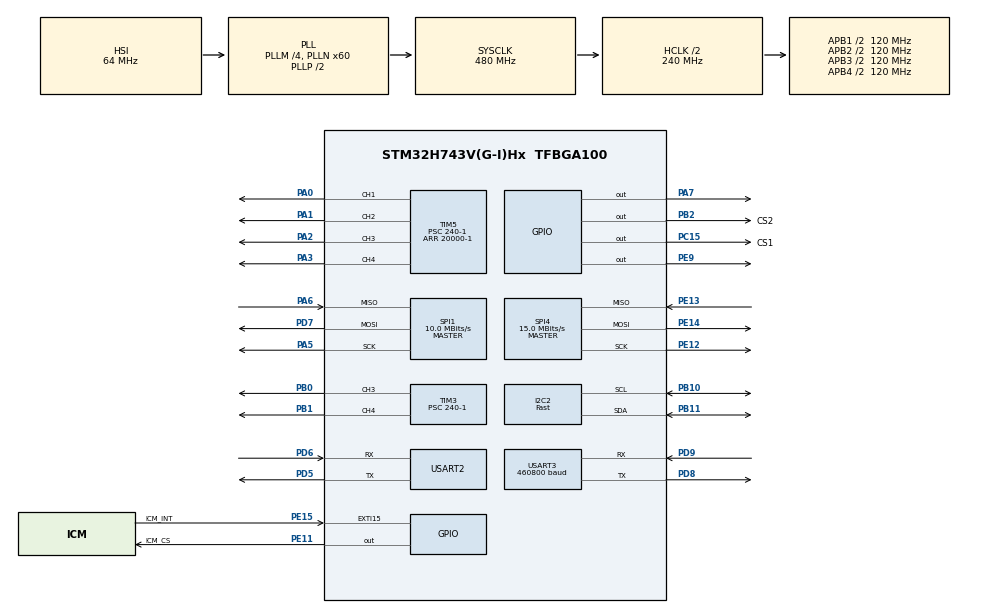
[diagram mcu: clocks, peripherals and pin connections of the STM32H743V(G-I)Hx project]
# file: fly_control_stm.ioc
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CORTEX_M7.default_mode_Activation=1
Dma.I2C2_RX.2.Direction=DMA_PERIPH_TO_MEMORY
Dma.I2C2_RX.2.EventEnable=DISABLE
Dma.I2C2_RX.2.FIFOMode=DMA_FIFOMODE_DISABLE
Dma.I2C2_RX.2.Instance=DMA1_Stream0
Dma.I2C2_RX.2.MemDataAlignment=DMA_MDATAALIGN_BYTE
Dma.I2C2_RX.2.MemInc=DMA_MINC_ENABLE
Dma.I2C2_RX.2.Mode=DMA_NORMAL
Dma.I2C2_RX.2.PeriphDataAlignment=DMA_PDATAALIGN_BYTE
Dma.I2C2_RX.2.PeriphInc=DMA_PINC_DISABLE
Dma.I2C2_RX.2.Polarity=HAL_DMAMUX_REQ_GEN_RISING
Dma.I2C2_RX.2.Priority=DMA_PRIORITY_MEDIUM
Dma.I2C2_RX.2.RequestNumber=1
Dma.I2C2_RX.2.SignalID=NONE
Dma.I2C2_RX.2.SyncEnable=DISABLE
Dma.I2C2_RX.2.SyncPolarity=HAL_DMAMUX_SYNC_NO_EVENT
Dma.I2C2_RX.2.SyncRequestNumber=1
Dma.I2C2_RX.2.SyncSignalID=NONE
Dma.I2C2_TX.3.Direction=DMA_MEMORY_TO_PERIPH
Dma.I2C2_TX.3.EventEnable=DISABLE
Dma.I2C2_TX.3.FIFOMode=DMA_FIFOMODE_DISABLE
Dma.I2C2_TX.3.Instance=DMA1_Stream1
Dma.I2C2_TX.3.MemDataAlignment=DMA_MDATAALIGN_BYTE
Dma.I2C2_TX.3.MemInc=DMA_MINC_ENABLE
Dma.I2C2_TX.3.Mode=DMA_NORMAL
Dma.I2C2_TX.3.PeriphDataAlignment=DMA_PDATAALIGN_BYTE
Dma.I2C2_TX.3.PeriphInc=DMA_PINC_DISABLE
Dma.I2C2_TX.3.Polarity=HAL_DMAMUX_REQ_GEN_RISING
Dma.I2C2_TX.3.Priority=DMA_PRIORITY_MEDIUM
Dma.I2C2_TX.3.RequestNumber=1
Dma.I2C2_TX.3.SignalID=NONE
Dma.I2C2_TX.3.SyncEnable=DISABLE
Dma.I2C2_TX.3.SyncPolarity=HAL_DMAMUX_SYNC_NO_EVENT
Dma.I2C2_TX.3.SyncRequestNumber=1
Dma.I2C2_TX.3.SyncSignalID=NONE
Dma.Request0=USART3_RX
Dma.Request1=USART3_TX
Dma.Request2=I2C2_RX
Dma.Request3=I2C2_TX
Dma.Request4=SPI4_RX
Dma.Request5=SPI4_TX
Dma.Request6=USART2_RX
Dma.SPI4_RX.4.Direction=DMA_PERIPH_TO_MEMORY
Dma.SPI4_RX.4.EventEnable=DISABLE
Dma.SPI4_RX.4.FIFOMode=DMA_FIFOMODE_DISABLE
Dma.SPI4_RX.4.Instance=DMA2_Stream1
Dma.SPI4_RX.4.MemDataAlignment=DMA_MDATAALIGN_BYTE
Dma.SPI4_RX.4.MemInc=DMA_MINC_ENABLE
Dma.SPI4_RX.4.Mode=DMA_NORMAL
Dma.SPI4_RX.4.PeriphDataAlignment=DMA_PDATAALIGN_BYTE
Dma.SPI4_RX.4.PeriphInc=DMA_PINC_DISABLE
Dma.SPI4_RX.4.Polarity=HAL_DMAMUX_REQ_GEN_RISING
Dma.SPI4_RX.4.Priority=DMA_PRIORITY_LOW
Dma.SPI4_RX.4.RequestNumber=1
Dma.SPI4_RX.4.SignalID=NONE
Dma.SPI4_RX.4.SyncEnable=DISABLE
Dma.SPI4_RX.4.SyncPolarity=HAL_DMAMUX_SYNC_NO_EVENT
Dma.SPI4_RX.4.SyncRequestNumber=1
Dma.SPI4_RX.4.SyncSignalID=NONE
Dma.SPI4_TX.5.Direction=DMA_MEMORY_TO_PERIPH
Dma.SPI4_TX.5.EventEnable=DISABLE
Dma.SPI4_TX.5.FIFOMode=DMA_FIFOMODE_DISABLE
Dma.SPI4_TX.5.Instance=DMA2_Stream2
Dma.SPI4_TX.5.MemDataAlignment=DMA_MDATAALIGN_BYTE
Dma.SPI4_TX.5.MemInc=DMA_MINC_ENABLE
Dma.SPI4_TX.5.Mode=DMA_NORMAL
Dma.SPI4_TX.5.PeriphDataAlignment=DMA_PDATAALIGN_BYTE
Dma.SPI4_TX.5.PeriphInc=DMA_PINC_DISABLE
Dma.SPI4_TX.5.Polarity=HAL_DMAMUX_REQ_GEN_RISING
Dma.SPI4_TX.5.Priority=DMA_PRIORITY_LOW
Dma.SPI4_TX.5.RequestNumber=1
Dma.SPI4_TX.5.SignalID=NONE
Dma.SPI4_TX.5.SyncEnable=DISABLE
Dma.SPI4_TX.5.SyncPolarity=HAL_DMAMUX_SYNC_NO_EVENT
Dma.SPI4_TX.5.SyncRequestNumber=1
Dma.SPI4_TX.5.SyncSignalID=NONE
Dma.USART2_RX.6.Direction=DMA_PERIPH_TO_MEMORY
Dma.USART2_RX.6.EventEnable=DISABLE
Dma.USART2_RX.6.FIFOMode=DMA_FIFOMODE_DISABLE
Dma.USART2_RX.6.Instance=DMA1_Stream2
Dma.USART2_RX.6.MemDataAlignment=DMA_MDATAALIGN_BYTE
Dma.USART2_RX.6.MemInc=DMA_MINC_ENABLE
Dma.USART2_RX.6.Mode=DMA_CIRCULAR
Dma.USART2_RX.6.PeriphDataAlignment=DMA_PDATAALIGN_BYTE
Dma.USART2_RX.6.PeriphInc=DMA_PINC_DISABLE
Dma.USART2_RX.6.Polarity=HAL_DMAMUX_REQ_GEN_RISING
Dma.USART2_RX.6.Priority=DMA_PRIORITY_HIGH
Dma.USART2_RX.6.RequestNumber=1
Dma.USART2_RX.6.SignalID=NONE
Dma.USART2_RX.6.SyncEnable=DISABLE
Dma.USART2_RX.6.SyncPolarity=HAL_DMAMUX_SYNC_NO_EVENT
Dma.USART2_RX.6.SyncRequestNumber=1
Dma.USART2_RX.6.SyncSignalID=NONE
Dma.USART3_RX.0.Direction=DMA_PERIPH_TO_MEMORY
Dma.USART3_RX.0.EventEnable=DISABLE
Dma.USART3_RX.0.FIFOMode=DMA_FIFOMODE_DISABLE
Dma.USART3_RX.0.Instance=DMA1_Stream5
Dma.USART3_RX.0.MemDataAlignment=DMA_MDATAALIGN_BYTE
Dma.USART3_RX.0.MemInc=DMA_MINC_ENABLE
Dma.USART3_RX.0.Mode=DMA_CIRCULAR
Dma.USART3_RX.0.PeriphDataAlignment=DMA_PDATAALIGN_BYTE
Dma.USART3_RX.0.PeriphInc=DMA_PINC_DISABLE
Dma.USART3_RX.0.Polarity=HAL_DMAMUX_REQ_GEN_RISING
Dma.USART3_RX.0.Priority=DMA_PRIORITY_VERY_HIGH
Dma.USART3_RX.0.RequestNumber=1
Dma.USART3_RX.0.SignalID=NONE
Dma.USART3_RX.0.SyncEnable=DISABLE
Dma.USART3_RX.0.SyncPolarity=HAL_DMAMUX_SYNC_NO_EVENT
Dma.USART3_RX.0.SyncRequestNumber=1
Dma.USART3_RX.0.SyncSignalID=NONE
Dma.USART3_TX.1.Direction=DMA_MEMORY_TO_PERIPH
Dma.USART3_TX.1.EventEnable=DISABLE
Dma.USART3_TX.1.FIFOMode=DMA_FIFOMODE_DISABLE
Dma.USART3_TX.1.Instance=DMA1_Stream6
Dma.USART3_TX.1.MemDataAlignment=DMA_MDATAALIGN_BYTE
Dma.USART3_TX.1.MemInc=DMA_MINC_ENABLE
Dma.USART3_TX.1.Mode=DMA_NORMAL
Dma.USART3_TX.1.PeriphDataAlignment=DMA_PDATAALIGN_BYTE
Dma.USART3_TX.1.PeriphInc=DMA_PINC_DISABLE
Dma.USART3_TX.1.Polarity=HAL_DMAMUX_REQ_GEN_RISING
Dma.USART3_TX.1.Priority=DMA_PRIORITY_LOW
Dma.USART3_TX.1.RequestNumber=1
Dma.USART3_TX.1.SignalID=NONE
Dma.USART3_TX.1.SyncEnable=DISABLE
Dma.USART3_TX.1.SyncPolarity=HAL_DMAMUX_SYNC_NO_EVENT
Dma.USART3_TX.1.SyncRequestNumber=1
Dma.USART3_TX.1.SyncSignalID=NONE
FREERTOS.Tasks01=defaultTask,0,128,StartDefaultTask,Default,NULL,Dynamic,NULL,NULL
I2C2.I2C_Speed_Mode=I2C_Fast
I2C2.Timing=0x00B03FDB
Mcu.Family=STM32H7
Mcu.Name=STM32H743V(G-I)Hx
Mcu.Package=TFBGA100
NVIC.DMA1_Stream0_IRQn=true\:5\:0\:false\:false\:true\:true\:false\:true\:true
NVIC.DMA1_Stream1_IRQn=true\:5\:0\:false\:false\:true\:true\:false\:true\:true
NVIC.DMA1_Stream2_IRQn=true\:5\:0\:false\:false\:true\:true\:false\:true\:true
NVIC.DMA1_Stream5_IRQn=true\:5\:0\:false\:false\:true\:true\:false\:true\:true
NVIC.DMA1_Stream6_IRQn=true\:5\:0\:false\:false\:true\:true\:false\:true\:true
NVIC.DMA2_Stream1_IRQn=true\:5\:0\:true\:false\:true\:true\:false\:true\:true
NVIC.DMA2_Stream2_IRQn=true\:5\:0\:true\:false\:true\:true\:false\:true\:true
NVIC.EXTI15_10_IRQn=true\:5\:0\:true\:false\:true\:true\:true\:true\:true
NVIC.I2C2_ER_IRQn=true\:5\:0\:false\:false\:true\:true\:true\:true\:true
NVIC.I2C2_EV_IRQn=true\:5\:0\:false\:false\:true\:true\:true\:true\:true
NVIC.PriorityGroup=NVIC_PRIORITYGROUP_4
NVIC.SPI4_IRQn=true\:5\:0\:false\:false\:true\:true\:false\:true\:true
NVIC.TIM2_IRQn=true\:15\:0\:false\:false\:true\:false\:false\:true\:true
NVIC.TimeBase=TIM2_IRQn
NVIC.TimeBaseIP=TIM2
NVIC.USART2_IRQn=true\:5\:0\:false\:false\:true\:true\:true\:true\:true
NVIC.USART3_IRQn=true\:5\:0\:false\:false\:true\:true\:true\:true\:true
PA0.Signal=S_TIM5_CH1
PA1.Signal=S_TIM5_CH2
PA13\ (JTMS/SWDIO).Mode=Serial_Wire
PA13\ (JTMS/SWDIO).Signal=DEBUG_JTMS-SWDIO
PA14\ (JTCK/SWCLK).Mode=Serial_Wire
PA14\ (JTCK/SWCLK).Signal=DEBUG_JTCK-SWCLK
PA2.Signal=S_TIM5_CH3
PA3.Signal=S_TIM5_CH4
PA5.GPIO_Speed=GPIO_SPEED_FREQ_VERY_HIGH
PA5.Mode=Full_Duplex_Master
PA5.Signal=SPI1_SCK
PA6.GPIO_Speed=GPIO_SPEED_FREQ_VERY_HIGH
PA6.Mode=Full_Duplex_Master
PA6.Signal=SPI1_MISO
PA7.PinState=GPIO_PIN_SET
PA7.Signal=GPIO_Output
PB0.Signal=S_TIM3_CH3
PB1.Signal=S_TIM3_CH4
PB10.GPIO_Speed=GPIO_SPEED_FREQ_VERY_HIGH
PB10.Mode=I2C
PB10.Signal=I2C2_SCL
PB11.GPIO_Speed=GPIO_SPEED_FREQ_VERY_HIGH
PB11.Mode=I2C
PB11.Signal=I2C2_SDA
PB2.GPIO_Label=CS2
PB2.GPIO_PuPd=GPIO_PULLUP
PB2.GPIO_Speed=GPIO_SPEED_FREQ_HIGH
PB2.PinState=GPIO_PIN_SET
PB2.Signal=GPIO_Output
PC15-OSC32_OUT\ (OSC32_OUT).GPIO_Label=CS1
PC15-OSC32_OUT\ (OSC32_OUT).GPIO_PuPd=GPIO_PULLUP
PC15-OSC32_OUT\ (OSC32_OUT).GPIO_Speed=GPIO_SPEED_FREQ_LOW
PC15-OSC32_OUT\ (OSC32_OUT).PinState=GPIO_PIN_SET
PC15-OSC32_OUT\ (OSC32_OUT).Signal=GPIO_Output
PD5.GPIO_Speed=GPIO_SPEED_FREQ_VERY_HIGH
PD5.Mode=Asynchronous
PD5.Signal=USART2_TX
PD6.GPIO_Speed=GPIO_SPEED_FREQ_VERY_HIGH
PD6.Mode=Asynchronous
PD6.Signal=USART2_RX
PD7.GPIO_Speed=GPIO_SPEED_FREQ_VERY_HIGH
PD7.Mode=Full_Duplex_Master
PD7.Signal=SPI1_MOSI
PD8.GPIO_Speed=GPIO_SPEED_FREQ_VERY_HIGH
PD8.Mode=Asynchronous
PD8.Signal=USART3_TX
PD9.GPIO_Speed=GPIO_SPEED_FREQ_VERY_HIGH
PD9.Mode=Asynchronous
PD9.Signal=USART3_RX
PE11.GPIO_Label=ICM_CS
PE11.GPIO_Speed=GPIO_SPEED_FREQ_VERY_HIGH
PE11.PinState=GPIO_PIN_SET
PE11.Signal=GPIO_Output
PE12.GPIO_Speed=GPIO_SPEED_FREQ_VERY_HIGH
PE12.Mode=Full_Duplex_Master
PE12.Signal=SPI4_SCK
PE13.GPIO_Speed=GPIO_SPEED_FREQ_VERY_HIGH
PE13.Mode=Full_Duplex_Master
PE13.Signal=SPI4_MISO
PE14.GPIO_Speed=GPIO_SPEED_FREQ_VERY_HIGH
PE14.Mode=Full_Duplex_Master
PE14.Signal=SPI4_MOSI
PE15.GPIO_Label=ICM_INT
PE15.GPIO_PuPd=GPIO_PULLDOWN
PE15.Signal=GPXTI15
PE9.PinState=GPIO_PIN_SET
PE9.Signal=GPIO_Output
PH0-OSC_IN\ (PH0).Mode=HSE-External-Oscillator
PH0-OSC_IN\ (PH0).Signal=RCC_OSC_IN
PH1-OSC_OUT\ (PH1).Mode=HSE-External-Oscillator
PH1-OSC_OUT\ (PH1).Signal=RCC_OSC_OUT
ProjectManager.HeapSize=0x200
ProjectManager.StackSize=0x400
ProjectManager.TargetToolchain=CMake
RCC.ADCFreq_Value=129000000
RCC.APB1Freq_Value=120000000
RCC.APB2Freq_Value=120000000
RCC.APB3Freq_Value=120000000
RCC.APB4Freq_Value=120000000
RCC.CortexFreq_Value=480000000
RCC.D1PPRE=RCC_APB3_DIV2
RCC.D2PPRE1=RCC_APB1_DIV2
RCC.D2PPRE2=RCC_APB2_DIV2
RCC.D3PPRE=RCC_APB4_DIV2
RCC.DIVM1=4
RCC.DIVN1=60
RCC.DIVN3=220
RCC.DIVQ1=6
RCC.HCLKFreq_Value=240000000
RCC.HPRE=RCC_HCLK_DIV2
RCC.HSE_VALUE=8000000
RCC.PLL2FRACN=0
RCC.PLL3FRACN=0
RCC.PLLFRACN=0
RCC.SYSCLKFreq_VALUE=480000000
RCC.SYSCLKSource=RCC_SYSCLKSOURCE_PLLCLK
RCC.USBFreq_Value=160000000
SH.S_TIM3_CH3.0=TIM3_CH3,PWM Generation3 CH3
SH.S_TIM3_CH4.0=TIM3_CH4,PWM Generation4 CH4
SH.S_TIM5_CH1.0=TIM5_CH1,PWM Generation1 CH1
SH.S_TIM5_CH2.0=TIM5_CH2,PWM Generation2 CH2
SH.S_TIM5_CH3.0=TIM5_CH3,PWM Generation3 CH3
SH.S_TIM5_CH4.0=TIM5_CH4,PWM Generation4 CH4
SPI1.BaudRatePrescaler=SPI_BAUDRATEPRESCALER_16
SPI1.CLKPhase=SPI_PHASE_1EDGE
SPI1.CLKPolarity=SPI_POLARITY_LOW
SPI1.CalculateBaudRate=10.0 MBits/s
SPI1.DataSize=SPI_DATASIZE_8BIT
SPI1.Direction=SPI_DIRECTION_2LINES
SPI1.Mode=SPI_MODE_MASTER
SPI1.VirtualType=VM_MASTER
SPI4.BaudRatePrescaler=SPI_BAUDRATEPRESCALER_8
SPI4.CalculateBaudRate=15.0 MBits/s
SPI4.DataSize=SPI_DATASIZE_8BIT
SPI4.Direction=SPI_DIRECTION_2LINES
SPI4.Mode=SPI_MODE_MASTER
SPI4.VirtualType=VM_MASTER
STMicroelectronics.X-CUBE-ALGOBUILD.1.4.0.LibraryCcDSPOoLibraryJjDSPOoLibrary=true
TIM3.Channel-PWM\ Generation3\ CH3=TIM_CHANNEL_3
TIM3.Channel-PWM\ Generation4\ CH4=TIM_CHANNEL_4
TIM3.Period=20000-1
TIM3.Prescaler=240-1
TIM5.Channel-PWM\ Generation1\ CH1=TIM_CHANNEL_1
TIM5.Channel-PWM\ Generation2\ CH2=TIM_CHANNEL_2
TIM5.Channel-PWM\ Generation3\ CH3=TIM_CHANNEL_3
TIM5.Channel-PWM\ Generation4\ CH4=TIM_CHANNEL_4
TIM5.Period=20000-1
TIM5.Prescaler=240-1
USART2.VirtualMode-Asynchronous=VM_ASYNC
USART3.BaudRate=460800
USART3.VirtualMode-Asynchronous=VM_ASYNC
VP_FREERTOS_VS_CMSIS_V1.Mode=CMSIS_V1
VP_MEMORYMAP_VS_MEMORYMAP.Mode=CurAppReg
VP_STMicroelectronics.X-CUBE-ALGOBUILD_VS_DSPOoLibraryJjLibrary_1.4.0_1.4.0.Mode=DSPOoLibraryJjLibrary
VP_SYS_VS_tim2.Mode=TIM2
board=custom

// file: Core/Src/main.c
/* USER CODE BEGIN Header */
/**
  ******************************************************************************
  * @file           : main.c
  * @brief          : Main program body
  ******************************************************************************
  * @attention
  *
  * Copyright (c) 2026 STMicroelectronics.
  * All rights reserved.
  *
  * This software is licensed under terms that can be found in the LICENSE file
  * in the root directory of this software component.
  * If no LICENSE file comes with this software, it is provided AS-IS.
  *
  ******************************************************************************
  */
/* USER CODE END Header */
#include "main.h"
#include "cmsis_os.h"
#include "dma.h"
#include "i2c.h"
#include "spi.h"
#include "tim.h"
#include "usart.h"
#include "gpio.h"

/* USER CODE BEGIN Includes */
#include "spl06.h"
#include "mavlink_app.h"
#include "common.h"
#include "bsp_platform.h"
/* USER CODE END Includes */

/* USER CODE BEGIN PD */
int watch_test=0;
/* USER CODE END PD */

void SystemClock_Config(void);
static void MPU_Config(void);
void MX_FREERTOS_Init(void);

/* USER CODE BEGIN 0 */
int test_add=0;
/* USER CODE END 0 */

int main(void)
{

  /* MPU Configuration--------------------------------------------------------*/
  MPU_Config();

  /* MCU Configuration--------------------------------------------------------*/

  /* Reset of all peripherals, Initializes the Flash interface and the Systick. */
  HAL_Init();

  /* Configure the system clock */
  SystemClock_Config();

  /* USER CODE BEGIN SysInit */
  /* D-Cache 与 DMA 一致性
   * 顺序不可颠倒：先以 MPU 将 RAM_D2 的 .dma_buffer 标为非缓存，再开启 D-Cache。
   * SPI/UART DMA 均在后续外设/任务初始化后才启动；DMA 缓冲不依赖逐帧 Cache 维护。
   * 其他正常缓存区仍能受益于 D-Cache。这里只体现实现配置，不代表硬件验证记录。 */
  bsp_dma_region_init(); /* SPI/UART DMA 非缓存区：任务启动前统一配置。 */
  SCB_EnableDCache(); /* .dma_buffer 已由 MPU 标记为非缓存，随后才启动任何 DMA。 */
  bsp_time_init();
  HAL_Delay_us_init(480);//给IMU用的延时
  /* USER CODE END SysInit */

  /* Initialize all configured peripherals */
  MX_GPIO_Init();
  MX_DMA_Init();
  MX_TIM5_Init();
  MX_SPI1_Init();
  MX_USART3_UART_Init();
  MX_TIM3_Init();
  MX_I2C2_Init();
  MX_SPI4_Init();
  MX_USART2_UART_Init();
  /* USER CODE BEGIN 2 */
  /* MAVLink RX DMA 在 mavlink_task 取得任务句柄后启动。 */
  /* PWM 由 Aircraft_ctrl_task 按 AIRCRAFT_MODEL / AIRCRAFT_PWM_ENABLE 初始化。 */
  watch_test=1000;
  /* USER CODE END 2 */

  /* Call init function for freertos objects (in cmsis_os2.c) */
  MX_FREERTOS_Init();

  /* Start scheduler */
  osKernelStart();

  /* We should never get here as control is now taken by the scheduler */

  /* Infinite loop */
  while (1)
  {

    /* USER CODE BEGIN 3 */

    HAL_Delay(100);
  }
  /* USER CODE END 3 */
}

void SystemClock_Config(void)
{
  RCC_OscInitTypeDef RCC_OscInitStruct = {0};
  RCC_ClkInitTypeDef RCC_ClkInitStruct = {0};

  /** Supply configuration update enable
  */
  HAL_PWREx_ConfigSupply(PWR_LDO_SUPPLY);

  /** Configure the main internal regulator output voltage
  */
  __HAL_PWR_VOLTAGESCALING_CONFIG(PWR_REGULATOR_VOLTAGE_SCALE0);

  while(!__HAL_PWR_GET_FLAG(PWR_FLAG_VOSRDY)) {}

  /** Initializes the RCC Oscillators according to the specified parameters
  * in the RCC_OscInitTypeDef structure.
  */
  RCC_OscInitStruct.OscillatorType = RCC_OSCILLATORTYPE_HSI;
  RCC_OscInitStruct.HSIState = RCC_HSI_DIV1;
  RCC_OscInitStruct.HSICalibrationValue = RCC_HSICALIBRATION_DEFAULT;
  RCC_OscInitStruct.PLL.PLLState = RCC_PLL_ON;
  RCC_OscInitStruct.PLL.PLLSource = RCC_PLLSOURCE_HSI;
  RCC_OscInitStruct.PLL.PLLM = 4;
  RCC_OscInitStruct.PLL.PLLN = 60;
  RCC_OscInitStruct.PLL.PLLP = 2;
  RCC_OscInitStruct.PLL.PLLQ = 6;
  RCC_OscInitStruct.PLL.PLLR = 2;
  RCC_OscInitStruct.PLL.PLLRGE = RCC_PLL1VCIRANGE_3;
  RCC_OscInitStruct.PLL.PLLVCOSEL = RCC_PLL1VCOWIDE;
  RCC_OscInitStruct.PLL.PLLFRACN = 0;
  if (HAL_RCC_OscConfig(&RCC_OscInitStruct) != HAL_OK)
  {
    Error_Handler();
  }

  /** Initializes the CPU, AHB and APB buses clocks
  */
  RCC_ClkInitStruct.ClockType = RCC_CLOCKTYPE_HCLK|RCC_CLOCKTYPE_SYSCLK
                              |RCC_CLOCKTYPE_PCLK1|RCC_CLOCKTYPE_PCLK2
                              |RCC_CLOCKTYPE_D3PCLK1|RCC_CLOCKTYPE_D1PCLK1;
  RCC_ClkInitStruct.SYSCLKSource = RCC_SYSCLKSOURCE_PLLCLK;
  RCC_ClkInitStruct.SYSCLKDivider = RCC_SYSCLK_DIV1;
  RCC_ClkInitStruct.AHBCLKDivider = RCC_HCLK_DIV2;
  RCC_ClkInitStruct.APB3CLKDivider = RCC_APB3_DIV2;
  RCC_ClkInitStruct.APB1CLKDivider = RCC_APB1_DIV2;
  RCC_ClkInitStruct.APB2CLKDivider = RCC_APB2_DIV2;
  RCC_ClkInitStruct.APB4CLKDivider = RCC_APB4_DIV2;

  if (HAL_RCC_ClockConfig(&RCC_ClkInitStruct, FLASH_LATENCY_4) != HAL_OK)
  {
    Error_Handler();
  }
}

 /* MPU Configuration */

void MPU_Config(void)
{
  MPU_Region_InitTypeDef MPU_InitStruct = {0};

  /* Disables the MPU */
  HAL_MPU_Disable();

  /** Initializes and configures the Region and the memory to be protected
  */
  MPU_InitStruct.Enable = MPU_REGION_ENABLE;
  MPU_InitStruct.Number = MPU_REGION_NUMBER0;
  MPU_InitStruct.BaseAddress = 0x0;
  MPU_InitStruct.Size = MPU_REGION_SIZE_4GB;
  MPU_InitStruct.SubRegionDisable = 0x87;
  MPU_InitStruct.TypeExtField = MPU_TEX_LEVEL0;
  MPU_InitStruct.AccessPermission = MPU_REGION_NO_ACCESS;
  MPU_InitStruct.DisableExec = MPU_INSTRUCTION_ACCESS_DISABLE;
  MPU_InitStruct.IsShareable = MPU_ACCESS_SHAREABLE;
  MPU_InitStruct.IsCacheable = MPU_ACCESS_NOT_CACHEABLE;
  MPU_InitStruct.IsBufferable = MPU_ACCESS_NOT_BUFFERABLE;

  HAL_MPU_ConfigRegion(&MPU_InitStruct);
  /* Enables the MPU */
  HAL_MPU_Enable(MPU_PRIVILEGED_DEFAULT);

}

void HAL_TIM_PeriodElapsedCallback(TIM_HandleTypeDef *htim)
{
  if (htim->Instance == TIM2)
  {
    HAL_IncTick();
  }
}

void Error_Handler(void)
{
  __disable_irq();
  while (1)
  {
  }
}

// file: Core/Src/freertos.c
/* USER CODE BEGIN Header */
/**
  ******************************************************************************
  * File Name          : freertos.c
  * Description        : Code for freertos applications
  ******************************************************************************
  * @attention
  *
  * Copyright (c) 2026 STMicroelectronics.
  * All rights reserved.
  *
  * This software is licensed under terms that can be found in the LICENSE file
  * in the root directory of this software component.
  * If no LICENSE file comes with this software, it is provided AS-IS.
  *
  ******************************************************************************
  */
/* USER CODE END Header */

#include "FreeRTOS.h"
#include "task.h"
#include "main.h"
#include "cmsis_os.h"

/* USER CODE BEGIN Includes */
#include "INS_task.h"
#include "Aircraft_ctrl_task.h"
#include "mavlink_app.h"
/* USER CODE END Includes */

/* USER CODE BEGIN PTD */
osThreadId imuTaskHandle;//����IMU���
osThreadId fly_ctrlTaskHandle;//����IMU���
#if (CURRENT_RC_PROTOCOL == RC_PROTOCOL_MAVLINK)
osThreadId mavlinkTaskHandle;
#else

#endif
/* USER CODE END PTD */

osThreadId defaultTaskHandle;

void StartDefaultTask(void const * argument);

void MX_FREERTOS_Init(void); /* (MISRA C 2004 rule 8.1) */

/* GetIdleTaskMemory prototype (linked to static allocation support) */
void vApplicationGetIdleTaskMemory( StaticTask_t **ppxIdleTaskTCBBuffer, StackType_t **ppxIdleTaskStackBuffer, uint32_t *pulIdleTaskStackSize );

/* USER CODE BEGIN GET_IDLE_TASK_MEMORY */
static StaticTask_t xIdleTaskTCBBuffer;
static StackType_t xIdleStack[configMINIMAL_STACK_SIZE];

void vApplicationGetIdleTaskMemory( StaticTask_t **ppxIdleTaskTCBBuffer, StackType_t **ppxIdleTaskStackBuffer, uint32_t *pulIdleTaskStackSize )
{
  *ppxIdleTaskTCBBuffer = &xIdleTaskTCBBuffer;
  *ppxIdleTaskStackBuffer = &xIdleStack[0];
  *pulIdleTaskStackSize = configMINIMAL_STACK_SIZE;
  /* place for user code */
}
/* USER CODE END GET_IDLE_TASK_MEMORY */

void MX_FREERTOS_Init(void) {

  /* Create the thread(s) */
  /* definition and creation of defaultTask */
  osThreadDef(defaultTask, StartDefaultTask, osPriorityNormal, 0, 128);
  defaultTaskHandle = osThreadCreate(osThread(defaultTask), NULL);

  /* USER CODE BEGIN RTOS_THREADS */
  /* add threads, ... */
  /* 多任务优先级与控制周期
   * ICM 解析任务由驱动创建，优先级 configMAX_PRIORITIES-1；本处创建应用消费者。
   * INS=High、MAVLink=AboveNormal、飞控=Normal；INS/飞控 1ms，通信等事件。
   * 任务优先级数字与 NVIC 中断优先级不是一套含义；FromISR 中断单独按优先级 5 配置。 */
  	osThreadDef(INS, INS_task, osPriorityHigh, 0, 256);
  imuTaskHandle = osThreadCreate(osThread(INS), NULL);

	osThreadDef(FLY_CTRL, Aircraft_ctrl_task, osPriorityNormal, 0, 256);
  fly_ctrlTaskHandle = osThreadCreate(osThread(FLY_CTRL), NULL);

#if (CURRENT_RC_PROTOCOL == RC_PROTOCOL_MAVLINK)
   /* 遥测打包及光流解算使用完整 INS/光流局部快照，预留 2KB 栈。 */
   osThreadDef(MAV_LINK, mavlink_task, osPriorityAboveNormal, 0, 512);
   mavlinkTaskHandle = osThreadCreate(osThread(MAV_LINK), NULL);
#else

#endif
  /* USER CODE END RTOS_THREADS */

}

void StartDefaultTask(void const * argument)
{
  for(;;)
  {
    osDelay(1);
  }
}
